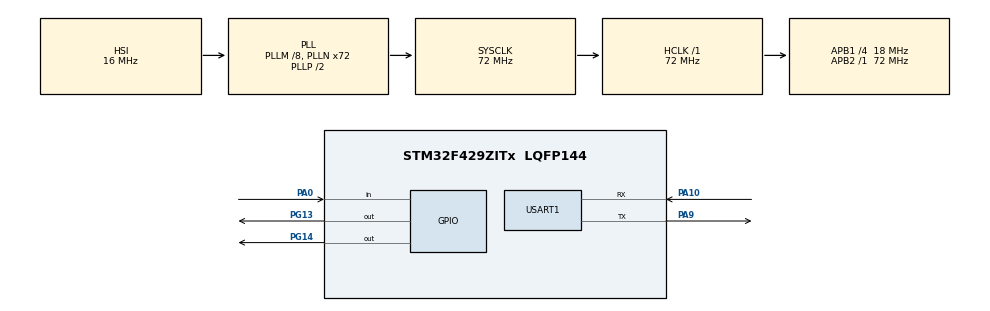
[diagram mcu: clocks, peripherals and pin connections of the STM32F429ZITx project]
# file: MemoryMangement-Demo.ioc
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FREERTOS.Tasks01=defaultTask,24,128,StartDefaultTask,Default,NULL,Dynamic,NULL,NULL
Mcu.Family=STM32F4
Mcu.Name=STM32F429ZITx
Mcu.Package=LQFP144
NVIC.PriorityGroup=NVIC_PRIORITYGROUP_4
PA0/WKUP.GPIO_PuPd=GPIO_PULLDOWN
PA0/WKUP.Signal=GPIO_Input
PA10.Mode=Asynchronous
PA10.Signal=USART1_RX
PA9.Mode=Asynchronous
PA9.Signal=USART1_TX
PG13.Signal=GPIO_Output
PG14.Signal=GPIO_Output
ProjectManager.HeapSize=0x200
ProjectManager.StackSize=0x400
ProjectManager.TargetToolchain=STM32CubeIDE
RCC.48MHZClocksFreq_Value=48000000
RCC.AHBFreq_Value=72000000
RCC.APB1CLKDivider=RCC_HCLK_DIV4
RCC.APB1Freq_Value=18000000
RCC.APB1TimFreq_Value=36000000
RCC.APB2Freq_Value=72000000
RCC.APB2TimFreq_Value=72000000
RCC.CortexFreq_Value=72000000
RCC.HCLKFreq_Value=72000000
RCC.HSE_VALUE=8000000
RCC.HSI_VALUE=16000000
RCC.LSE_VALUE=32768
RCC.PLLM=8
RCC.PLLN=72
RCC.PLLQ=3
RCC.PLLSAIN=50
RCC.SYSCLKFreq_VALUE=72000000
RCC.SYSCLKSource=RCC_SYSCLKSOURCE_PLLCLK
RCC.VCOOutputFreq_Value=144000000
USART1.VirtualMode=VM_ASYNC
VP_FREERTOS_VS_CMSIS_V2.Mode=CMSIS_V2
board=STM32F429I-DISC1

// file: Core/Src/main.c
/* USER CODE BEGIN Header */
/**
 ******************************************************************************
 * @file           : main.c
 * @brief          : Main program body
 ******************************************************************************
 * @attention
 *
 * Copyright (c) 2025 STMicroelectronics.
 * All rights reserved.
 *
 * This software is licensed under terms that can be found in the LICENSE file
 * in the root directory of this software component.
 * If no LICENSE file comes with this software, it is provided AS-IS.
 *
 ******************************************************************************
 */
/* USER CODE END Header */
#include "main.h"
#include "cmsis_os.h"

UART_HandleTypeDef huart1;

/* Definitions for defaultTask */

/* USER CODE BEGIN PV */
/* Task handles */
TaskHandle_t xMemoryAllocatorTaskHandle = NULL;
TaskHandle_t xLcdUpdateTaskHandle = NULL;

/* Counters */
static volatile uint32_t ulAllocations = 0;
static volatile uint32_t ulDeallocations = 0;

/* USER CODE END PV */

void SystemClock_Config(void);
static void MX_GPIO_Init(void);
static void MX_USART1_UART_Init(void);
void StartDefaultTask(void *argument);

/* USER CODE BEGIN PFP */
/* Function prototypes */
static void MemoryAllocatorTask(void *pvParameters);
/* USER CODE END PFP */

/* USER CODE BEGIN 0 */
int _write(int file, char *data, int len)
{
	HAL_UART_Transmit(&huart1, (uint8_t*)data, len, HAL_MAX_DELAY);
	return len;
}
/* USER CODE END 0 */

int main(void)
{

	/* MCU Configuration--------------------------------------------------------*/

	/* Reset of all peripherals, Initializes the Flash interface and the Systick. */
	HAL_Init();

	/* Configure the system clock */
	SystemClock_Config();

	/* Initialize all configured peripherals */
	MX_GPIO_Init();
	MX_USART1_UART_Init();

	/* Init scheduler */

	/* Create the thread(s) */
	/* creation of defaultTask */

	/* USER CODE BEGIN RTOS_THREADS */
	/* add threads, ... */
	printf("=== FreeRTOS Memory Management Demonstration ===\r\n");
	printf("STM32F429I Discovery Board\r\n");
	printf("Initial Free Heap Size: %u bytes\r\n", (unsigned int)xPortGetFreeHeapSize());

	/* Create memory allocator task */
	xTaskCreate(
			MemoryAllocatorTask,    /* Task function */
			"MemAllocator",         /* Task name */
			configMINIMAL_STACK_SIZE * 2, /* Stack size (needs more for printf and malloc) */
			NULL,                   /* Parameters to pass to the task */
			tskIDLE_PRIORITY + 1,   /* Task priority */
			&xMemoryAllocatorTaskHandle /* Task handle */
	);

	printf("All tasks created. Starting scheduler...\r\n");

	/* Start the scheduler */
	vTaskStartScheduler();
	/* USER CODE END RTOS_THREADS */

	/* Start scheduler */

	/* We should never get here as control is now taken by the scheduler */

	/* Infinite loop */
	while (1)
	{

	}
}

void SystemClock_Config(void)
{
	RCC_OscInitTypeDef RCC_OscInitStruct = {0};
	RCC_ClkInitTypeDef RCC_ClkInitStruct = {0};

	/** Configure the main internal regulator output voltage
	 */
	__HAL_RCC_PWR_CLK_ENABLE();
	__HAL_PWR_VOLTAGESCALING_CONFIG(PWR_REGULATOR_VOLTAGE_SCALE3);

	/** Initializes the RCC Oscillators according to the specified parameters
	 * in the RCC_OscInitTypeDef structure.
	 */
	RCC_OscInitStruct.OscillatorType = RCC_OSCILLATORTYPE_HSI;
	RCC_OscInitStruct.HSIState = RCC_HSI_ON;
	RCC_OscInitStruct.HSICalibrationValue = RCC_HSICALIBRATION_DEFAULT;
	RCC_OscInitStruct.PLL.PLLState = RCC_PLL_ON;
	RCC_OscInitStruct.PLL.PLLSource = RCC_PLLSOURCE_HSI;
	RCC_OscInitStruct.PLL.PLLM = 8;
	RCC_OscInitStruct.PLL.PLLN = 72;
	RCC_OscInitStruct.PLL.PLLP = RCC_PLLP_DIV2;
	RCC_OscInitStruct.PLL.PLLQ = 3;
	if (HAL_RCC_OscConfig(&RCC_OscInitStruct) != HAL_OK)
	{
		Error_Handler();
	}

	/** Initializes the CPU, AHB and APB buses clocks
	 */
	RCC_ClkInitStruct.ClockType = RCC_CLOCKTYPE_HCLK|RCC_CLOCKTYPE_SYSCLK
			|RCC_CLOCKTYPE_PCLK1|RCC_CLOCKTYPE_PCLK2;
	RCC_ClkInitStruct.SYSCLKSource = RCC_SYSCLKSOURCE_PLLCLK;
	RCC_ClkInitStruct.AHBCLKDivider = RCC_SYSCLK_DIV1;
	RCC_ClkInitStruct.APB1CLKDivider = RCC_HCLK_DIV4;
	RCC_ClkInitStruct.APB2CLKDivider = RCC_HCLK_DIV1;

	if (HAL_RCC_ClockConfig(&RCC_ClkInitStruct, FLASH_LATENCY_2) != HAL_OK)
	{
		Error_Handler();
	}
}

static void MX_USART1_UART_Init(void)
{

	huart1.Instance = USART1;
	huart1.Init.BaudRate = 115200;
	huart1.Init.WordLength = UART_WORDLENGTH_8B;
	huart1.Init.StopBits = UART_STOPBITS_1;
	huart1.Init.Parity = UART_PARITY_NONE;
	huart1.Init.Mode = UART_MODE_TX_RX;
	huart1.Init.HwFlowCtl = UART_HWCONTROL_NONE;
	huart1.Init.OverSampling = UART_OVERSAMPLING_16;
	if (HAL_UART_Init(&huart1) != HAL_OK)
	{
		Error_Handler();
	}

}

static void MX_GPIO_Init(void)
{
	GPIO_InitTypeDef GPIO_InitStruct = {0};

	/* GPIO Ports Clock Enable */
	__HAL_RCC_GPIOA_CLK_ENABLE();
	__HAL_RCC_GPIOG_CLK_ENABLE();

	/*Configure GPIO pin Output Level */
	HAL_GPIO_WritePin(GPIOG, GPIO_PIN_13|GPIO_PIN_14, GPIO_PIN_RESET);

	/*Configure GPIO pin : PA0 */
	GPIO_InitStruct.Pin = GPIO_PIN_0;
	GPIO_InitStruct.Mode = GPIO_MODE_INPUT;
	GPIO_InitStruct.Pull = GPIO_PULLDOWN;
	HAL_GPIO_Init(GPIOA, &GPIO_InitStruct);

	/*Configure GPIO pins : PG13 PG14 */
	GPIO_InitStruct.Pin = GPIO_PIN_13|GPIO_PIN_14;
	GPIO_InitStruct.Mode = GPIO_MODE_OUTPUT_PP;
	GPIO_InitStruct.Pull = GPIO_NOPULL;
	GPIO_InitStruct.Speed = GPIO_SPEED_FREQ_LOW;
	HAL_GPIO_Init(GPIOG, &GPIO_InitStruct);

}

/* USER CODE BEGIN 4 */
/**
 * @brief Memory Allocator Task - Dynamically allocates and frees memory
 * @param pvParameters: Task parameters (unused)
 */
static void MemoryAllocatorTask(void *pvParameters)
{
	(void)pvParameters; /* Suppress unused parameter warning */
	uint8_t *pucBuffer = NULL;
	size_t xBytesToAllocate;

	printf("Memory Allocator Task: Started\r\n");

	for (;;) {
		/* Allocate a random size between 50 and 200 bytes */
		xBytesToAllocate = (size_t)((HAL_GetTick() % 151) + 50);

		pucBuffer = (uint8_t*)pvPortMalloc(xBytesToAllocate);

		if (pucBuffer != NULL) {
			ulAllocations++;
			/* Initialize allocated memory to avoid issues */
			memset(pucBuffer, 0xA5, xBytesToAllocate);
			printf("Memory Allocator: Allocated %u bytes. Total allocations: %lu\r\n",
					(unsigned int)xBytesToAllocate, ulAllocations);
			HAL_GPIO_TogglePin(GPIOG, GPIO_PIN_13); /* Toggle Green LED on successful allocation */

			/* Simulate using the memory */
			vTaskDelay(pdMS_TO_TICKS(500));

			/* Free the allocated memory */
			vPortFree(pucBuffer);
			ulDeallocations++;
			printf("Memory Allocator: Freed %u bytes. Total deallocations: %lu\r\n",
					(unsigned int)xBytesToAllocate, ulDeallocations);
			HAL_GPIO_TogglePin(GPIOG, GPIO_PIN_13); /* Toggle Green LED on successful deallocation */
		} else {
			printf("Memory Allocator: Failed to allocate %u bytes. Heap low?\r\n",
					(unsigned int)xBytesToAllocate);
			HAL_GPIO_TogglePin(GPIOG, GPIO_PIN_14); /* Turn on Red LED to indicate allocation failure */
			vTaskDelay(pdMS_TO_TICKS(1000)); /* Wait longer on failure */
			HAL_GPIO_TogglePin(GPIOG, GPIO_PIN_14);
		}

		vTaskDelay(pdMS_TO_TICKS(100));
	}
}

/* USER CODE END 4 */

void StartDefaultTask(void *argument)
{
	for(;;)
	{
	}
}

void Error_Handler(void)
{
	__disable_irq();
	while (1)
	{
	}
}
